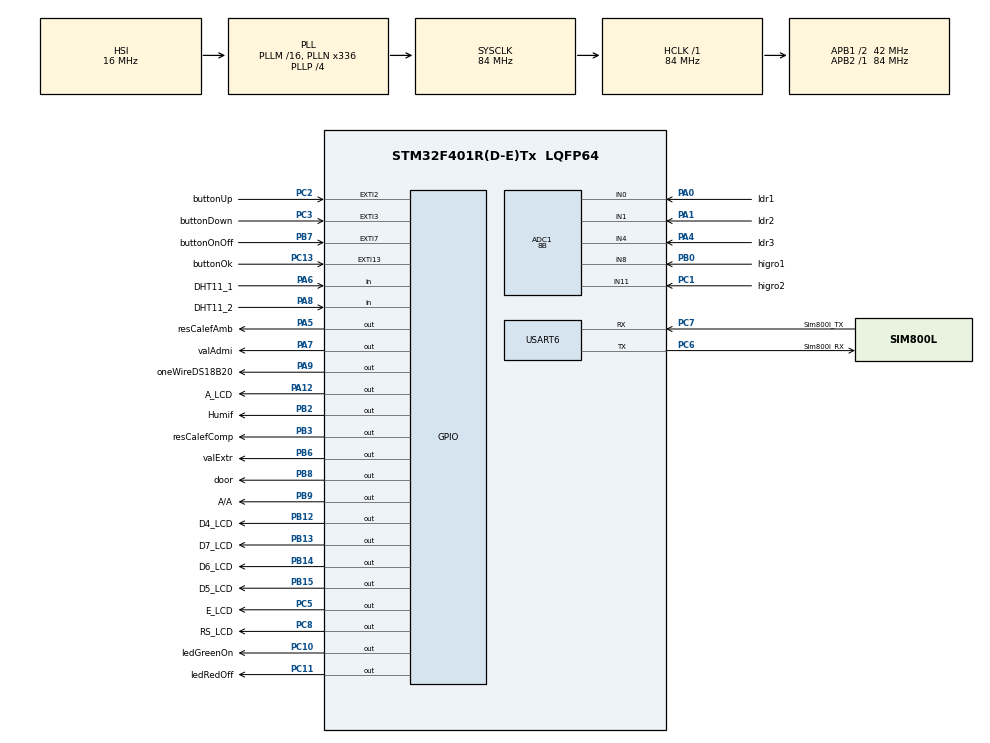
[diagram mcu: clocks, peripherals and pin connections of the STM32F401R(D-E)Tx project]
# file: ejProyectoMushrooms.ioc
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ADC1.Channel-0\#ChannelRegularConversion=ADC_CHANNEL_0
ADC1.Channel-1\#ChannelRegularConversion=ADC_CHANNEL_1
ADC1.Channel-2\#ChannelRegularConversion=ADC_CHANNEL_4
ADC1.Channel-3\#ChannelRegularConversion=ADC_CHANNEL_8
ADC1.Channel-4\#ChannelRegularConversion=ADC_CHANNEL_11
ADC1.Channel-5\#ChannelRegularConversion=ADC_CHANNEL_TEMPSENSOR
ADC1.ContinuousConvMode=ENABLE
ADC1.DMAContinuousRequests=ENABLE
ADC1.NbrOfConversion=6
ADC1.NbrOfConversionFlag=1
ADC1.Rank-0\#ChannelRegularConversion=1
ADC1.Rank-1\#ChannelRegularConversion=2
ADC1.Rank-2\#ChannelRegularConversion=3
ADC1.Rank-3\#ChannelRegularConversion=4
ADC1.Rank-4\#ChannelRegularConversion=5
ADC1.Rank-5\#ChannelRegularConversion=6
ADC1.Resolution=ADC_RESOLUTION_8B
ADC1.SamplingTime-0\#ChannelRegularConversion=ADC_SAMPLETIME_144CYCLES
ADC1.SamplingTime-1\#ChannelRegularConversion=ADC_SAMPLETIME_144CYCLES
ADC1.SamplingTime-2\#ChannelRegularConversion=ADC_SAMPLETIME_144CYCLES
ADC1.SamplingTime-3\#ChannelRegularConversion=ADC_SAMPLETIME_144CYCLES
ADC1.SamplingTime-4\#ChannelRegularConversion=ADC_SAMPLETIME_144CYCLES
ADC1.SamplingTime-5\#ChannelRegularConversion=ADC_SAMPLETIME_144CYCLES
ADC1.ScanConvMode=ENABLE
ADC1.master=1
Dma.ADC1.0.Direction=DMA_PERIPH_TO_MEMORY
Dma.ADC1.0.FIFOMode=DMA_FIFOMODE_DISABLE
Dma.ADC1.0.Instance=DMA2_Stream0
Dma.ADC1.0.MemDataAlignment=DMA_MDATAALIGN_BYTE
Dma.ADC1.0.MemInc=DMA_MINC_ENABLE
Dma.ADC1.0.Mode=DMA_CIRCULAR
Dma.ADC1.0.PeriphDataAlignment=DMA_PDATAALIGN_BYTE
Dma.ADC1.0.PeriphInc=DMA_PINC_DISABLE
Dma.ADC1.0.Priority=DMA_PRIORITY_LOW
Dma.Request0=ADC1
Mcu.Family=STM32F4
Mcu.Name=STM32F401R(D-E)Tx
Mcu.Package=LQFP64
NVIC.DMA2_Stream0_IRQn=true\:0\:0\:false\:false\:true
NVIC.EXTI15_10_IRQn=true\:0\:0\:false\:false\:true
NVIC.EXTI2_IRQn=true\:0\:0\:false\:false\:true
NVIC.EXTI3_IRQn=true\:0\:0\:false\:false\:true
NVIC.EXTI9_5_IRQn=true\:0\:0\:false\:false\:true
NVIC.PriorityGroup=NVIC_PRIORITYGROUP_0
NVIC.RCC_IRQn=true\:0\:0\:false\:false\:true
NVIC.TIM2_IRQn=true\:0\:0\:false\:false\:true
NVIC.USART6_IRQn=true\:0\:0\:false\:false\:true
PA0-WKUP.GPIO_Label=ldr1
PA0-WKUP.Signal=ADCx_IN0
PA1.GPIO_Label=ldr2
PA1.Signal=ADCx_IN1
PA12.GPIO_Label=A_LCD
PA12.Signal=GPIO_Output
PA4.GPIO_Label=ldr3
PA4.Signal=ADCx_IN4
PA5.GPIO_Label=resCalefAmb
PA5.Signal=GPIO_Output
PA6.GPIO_Label=DHT11_1
PA6.Signal=GPIO_Input
PA7.GPIO_Label=valAdmi
PA7.Signal=GPIO_Output
PA8.GPIO_Label=DHT11_2
PA8.Signal=GPIO_Input
PA9.GPIO_Label=oneWireDS18B20
PA9.Signal=GPIO_Output
PB0.GPIO_Label=higro1
PB0.Signal=ADCx_IN8
PB12.GPIO_Label=D4_LCD
PB12.Signal=GPIO_Output
PB13.GPIO_Label=D7_LCD
PB13.Signal=GPIO_Output
PB14.GPIO_Label=D6_LCD
PB14.Signal=GPIO_Output
PB15.GPIO_Label=D5_LCD
PB15.Signal=GPIO_Output
PB2.GPIO_Label=Humif
PB2.Signal=GPIO_Output
PB3.GPIO_Label=resCalefComp
PB3.Signal=GPIO_Output
PB6.GPIO_Label=valExtr
PB6.Signal=GPIO_Output
PB7.GPIO_Label=buttonOnOff
PB7.Signal=GPXTI7
PB8.GPIO_Label=door
PB8.Signal=GPIO_Output
PB9.GPIO_Label=A/A
PB9.Signal=GPIO_Output
PC1.GPIO_Label=higro2
PC1.Signal=ADCx_IN11
PC10.GPIO_Label=ledGreenOn
PC10.Signal=GPIO_Output
PC11.GPIO_Label=ledRedOff
PC11.Signal=GPIO_Output
PC13-ANTI_TAMP.GPIO_Label=buttonOk
PC13-ANTI_TAMP.Signal=GPXTI13
PC2.GPIO_Label=buttonUp
PC2.Signal=GPXTI2
PC3.GPIO_Label=buttonDown
PC3.Signal=GPXTI3
PC5.GPIO_Label=E_LCD
PC5.Signal=GPIO_Output
PC6.GPIO_Label=Sim800l_RX
PC6.Mode=Asynchronous
PC6.Signal=USART6_TX
PC7.GPIO_Label=Sim800l_TX
PC7.Mode=Asynchronous
PC7.Signal=USART6_RX
PC8.GPIO_Label=RS_LCD
PC8.Signal=GPIO_Output
PH0\ -\ OSC_IN.Mode=HSE-External-Oscillator
PH0\ -\ OSC_IN.Signal=RCC_OSC_IN
PH1\ -\ OSC_OUT.Mode=HSE-External-Oscillator
PH1\ -\ OSC_OUT.Signal=RCC_OSC_OUT
ProjectManager.HeapSize=0x200
ProjectManager.StackSize=0x400
ProjectManager.TargetToolchain=MDK-ARM V5
RCC.AHBFreq_Value=84000000
RCC.APB1CLKDivider=RCC_HCLK_DIV2
RCC.APB1Freq_Value=42000000
RCC.APB1TimFreq_Value=84000000
RCC.APB2Freq_Value=84000000
RCC.APB2TimFreq_Value=84000000
RCC.CortexFreq_Value=84000000
RCC.HCLKFreq_Value=84000000
RCC.HSE_VALUE=8000000
RCC.HSI_VALUE=16000000
RCC.LSE_VALUE=32768
RCC.PLLN=336
RCC.PLLP=RCC_PLLP_DIV4
RCC.PLLQ=7
RCC.SYSCLKFreq_VALUE=84000000
RCC.SYSCLKSource=RCC_SYSCLKSOURCE_PLLCLK
RCC.VCOOutputFreq_Value=336000000
RTC.Date=20
RTC.Format=RTC_FORMAT_BIN
RTC.Hours=7
RTC.Minutes=20
RTC.Month=RTC_MONTH_OCTOBER
RTC.WeekDay=RTC_WEEKDAY_FRIDAY
RTC.Year=17
SH.ADCx_IN0.0=ADC1_IN0,IN0
SH.ADCx_IN1.0=ADC1_IN1,IN1
SH.ADCx_IN11.0=ADC1_IN11,IN11
SH.ADCx_IN4.0=ADC1_IN4,IN4
SH.ADCx_IN8.0=ADC1_IN8,IN8
TIM2.Period=40000
TIM2.Prescaler=65535
TIM5.Period=0xffffffff
TIM5.Prescaler=84
USART6.VirtualMode=VM_ASYNC
VP_ADC1_TempSens_Input.Mode=IN-TempSens
VP_RTC_VS_RTC_Activate.Mode=RTC_Enabled
VP_RTC_VS_RTC_Calendar.Mode=RTC_Calendar
VP_TIM2_VS_ClockSourceINT.Mode=Internal
VP_TIM5_VS_ClockSourceINT.Mode=Internal
board=NUCLEO-F401RE

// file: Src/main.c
/**
  ******************************************************************************
  * File Name          : main.c
  * Description        : Main program body
  ******************************************************************************
  ** This notice applies to any and all portions of this file
  * that are not between comment pairs USER CODE BEGIN and
  * USER CODE END. Other portions of this file, whether
  * inserted by the user or by software development tools
  * are owned by their respective copyright owners.
  *
  * COPYRIGHT(c) 2018 STMicroelectronics
  *
  * Redistribution and use in source and binary forms, with or without modification,
  * are permitted provided that the following conditions are met:
  *   1. Redistributions of source code must retain the above copyright notice,
  *      this list of conditions and the following disclaimer.
  *   2. Redistributions in binary form must reproduce the above copyright notice,
  *      this list of conditions and the following disclaimer in the documentation
  *      and/or other materials provided with the distribution.
  *   3. Neither the name of STMicroelectronics nor the names of its contributors
  *      may be used to endorse or promote products derived from this software
  *      without specific prior written permission.
  *
  * THIS SOFTWARE IS PROVIDED BY THE COPYRIGHT HOLDERS AND CONTRIBUTORS "AS IS"
  * AND ANY EXPRESS OR IMPLIED WARRANTIES, INCLUDING, BUT NOT LIMITED TO, THE
  * IMPLIED WARRANTIES OF MERCHANTABILITY AND FITNESS FOR A PARTICULAR PURPOSE ARE
  * DISCLAIMED. IN NO EVENT SHALL THE COPYRIGHT HOLDER OR CONTRIBUTORS BE LIABLE
  * FOR ANY DIRECT, INDIRECT, INCIDENTAL, SPECIAL, EXEMPLARY, OR CONSEQUENTIAL
  * DAMAGES (INCLUDING, BUT NOT LIMITED TO, PROCUREMENT OF SUBSTITUTE GOODS OR
  * SERVICES; LOSS OF USE, DATA, OR PROFITS; OR BUSINESS INTERRUPTION) HOWEVER
  * CAUSED AND ON ANY THEORY OF LIABILITY, WHETHER IN CONTRACT, STRICT LIABILITY,
  * OR TORT (INCLUDING NEGLIGENCE OR OTHERWISE) ARISING IN ANY WAY OUT OF THE USE
  * OF THIS SOFTWARE, EVEN IF ADVISED OF THE POSSIBILITY OF SUCH DAMAGE.
  *
  ******************************************************************************
  */
#include "main.h"
#include "stm32f4xx_hal.h"

/* USER CODE BEGIN Includes */
#include <string.h>
#include <stdio.h>

/*Control and display on the LCD 16x2*/
#include "STM_MY_LCD16X2.h"
#include "menu.h"
/*Control and display on the LCD 16x2*/

/*Sensor to measurement the different important variables for the cultivation*/
#include "DHT11.h"
#include "soilHumidity.h"
#include "light.h"
#include "humAmb.h"
#include "humComp.h"
#include "humTemp.h"
#include "tempAmb.h"
#include "tempComp.h"
#include "tempMCU.h"
/*Sensor to measurement the different important variables for the cultivation*/

/*Files that controlled and maintained the phase of the growing*/
#include "fase.h"
#include "ctrlFase.h"
/*Files that controlled and maintained the phase of the growing*/

/*Includes for control and working the module SIM800L*/
#include "AT.h"
#include "fibocom.h"
#include "responseSMS.h"
/*Includes for control and working the module SIM800L*/

/* USER CODE END Includes */

ADC_HandleTypeDef hadc1;
DMA_HandleTypeDef hdma_adc1;

RTC_HandleTypeDef hrtc;

TIM_HandleTypeDef htim2;
TIM_HandleTypeDef htim5;

UART_HandleTypeDef huart6;

/* USER CODE BEGIN PV */
/* Private variables ---------------------------------------------------------*/

/*Variables to control the buttons and the LCD Display to initialization the system*/
typedef enum
{
	BREAK = -1,
	OFF,
	ON,
	RUN,
}eSystem;

typedef enum
{
	NOTHING,
	ARRIBA,
	ABAJO,
	OK,
}eButton;

typedef enum
{
	VOID = 0,
	MEDIUM,
	FULL,
}eLevel;

typedef enum
{
	datee,
	month,
	year,
	weekday,
}eDate;

typedef enum
{
	TEMPHUMAMB,
	TEMPSUELO,
	HUMSUELO,
	RTCCASE,
	TEMPSIM800,
	TEMPMCU,
	FAULT,
}eMED;

typedef enum
{
	MEDICION = 0,
	CONTROL,
	DATOS,
	SMSRX,
	SMSSEND,
	ALERTA,
	OUT,
	CALL,
}eProcess;

typedef enum
{
	JANUARY=1,
	FEBRUARY,
	MARCH,
	APRIL,
	MAY,
	JUNE,
	JULY,
	AUGUST,
	SEPTEMBER,
	OCTOBER,
	NOVEMBER,
	DECEMBER,
}eMonth;

eSystem system = OFF;
eButton msj = NOTHING;
eMED variable = TEMPHUMAMB;
uint8_t process = MEDICION;
uint8_t iTim = 0;
int8_t cntHMI = -1;
uint8_t cntHMI2 = 0;

/*Variables to control the buttons and the LCD Display to initialization the system*/

/*RS and E Control Pins to display in LCD 16x2*/
#define RS 8
#define E  5

#define D4 12
#define D5 15
#define D6 14
#define D7 13

const uint16_t LcdMaxRefreshTime = 500;
uint32_t LcdRefreshTime;
int8_t display = -1;
/*RS and E Control Pins to display in LCD 16x2*/

/*Buffer and variable to obtain the analogic values of Humidity, Illumination and the temperature
of the microcontroller*/
#define tam 6
uint8_t buffer[ tam ];
int16_t tempSensorMCU = 0;
float V25 = 760;
float Avg_Slope = 2500;
/*Buffer and variable to obtain the analogic values of Humidity, Illumination and the temperature
of the microcontroller*/

/*Variable to create a neccesary delay in microseconds to can connect with the DHT11 module sensor*/
volatile uint32_t a = 0;
volatile uint32_t us = 0;
volatile uint32_t u = 0;
/*Variable to create a neccesary delay in microseconds to can connect with the DHT11 module sensor*/

/*Array to storage the data of Date and time that will be necessary to control the period of cultivation*/
uint8_t Time[ 2 ];
uint8_t Date[ 4 ];
char timeLCD[] = {"   Time:00:00   "};
char dateLCD[] = {"  Date:00/00/00 "};
RTC_TimeTypeDef sTimeStructureGet;
RTC_DateTypeDef sDateStructureGet;
eFase date = faseGerminacion;			//Phase by default
uint16_t cntDate;
uint8_t setDate;
uint8_t setMonth;

typedef struct
{
	uint8_t yValue;
	uint8_t yDigit1;
	uint8_t yDigit2;
	uint8_t mValue;
	uint8_t mDigit1;
	uint8_t mDigit2;
	uint8_t dValue;
	uint8_t dDigit1;
	uint8_t dDigit2;
	uint8_t hValue;
	uint8_t hDigit1;
	uint8_t hDigit2;
	uint8_t minValue;
	uint8_t minDigit1;
	uint8_t minDigit2;
}typedefDate;

typedefDate _year;

typedefDate _month;

typedefDate _date;

typedefDate _hour;

typedefDate _min;

/*Array to storage the data of Date and time that will be necessary to control the period of cultivation*/

/*Variable to control the level of tank and display through LCD 16x2 the correct level*/
eLevel sensorOptic = VOID;
uint8_t levelTank, cntAA, cntLight, cntHum, cntHumComp;
/*Variable to control the level of tank and display through LCD 16x2 the correct level*/

/*Variable to measure a relative humidity of ambient and a temperature of ambient with DHT11*/
uint8_t DHT11_1 = 1;
uint8_t DHT11_2 = 2;
uint8_t humidity1, humidity2, temperature1, temperature11, temperature2;
uint8_t alertaHumLow, alertaTempLow, alertaTempHigh, countTemp, countHum;
/*Variable to measure a relative humidity of ambient and a temperature of ambient with DHT11*/

/*Variable to measure a humidity of the compost of growing*/
uint16_t hum1, hum2, humTotal;
/*Variable to measure a humidity of the compost of growing*/

/*Variable to measure the temperature at the compost of the growing*/
uint8_t crcMcu = 0;
uint8_t crcSensor = 0;

uint16_t tempComp1 = 0;
/*Variable to measure the temperature at the compost of the growing*/

/*Configuration of module SIM800L to connect the service GPRS and GSM*/
uint8_t buffRx[ 2000 ];
uint8_t buffRxRead[ 500 ];
int8_t state = -100;
uint8_t receiveMsj = 9;
int8_t estado;
bool msg = false;
char numeroTelefonicoAlertas[] = {"+584243458044"};
char numeroTelefonico[] = {"+584000000000"};
char temperaturaAmbiental[] = {"Temperatura Ambiental: 00°C. Cultivos Mushrooms."};
char humedadAmbiental[] = {"Humedad Ambiental: 000%. Cultivos Mushrooms."};
char temperaturaSustrato[] = {"Temperatura del Sustrato: 00°C. Cultivos Mushrooms."};
char humedadSustrato[] = {"Humedad del Sustrato: 000%. Cultivos Mushrooms."};
char iluminacion[] = {"Iluminacion del entorno: Optima. Cultivos Mushrooms."};
char nivelTanque[] = {"Nivel del tanque: Vacio. Cultivos Mushrooms."};
char temperaturaSim800[] = {"Temperatura del modulo: 00°C. Cultivos Mushrooms."};
char temperaturaMCU[] = {"Temperatura del MCU: 00°C. Cultivos Mushrooms."};
char msjAllVariables[] = {"Temperatura Ambiental: 00°C. Humedad Ambiental: 000%. Temperatura del sustrato: 000°C. Humedad del sustrato: 000%. Iluminacion: Optima. Nivel del tanque: Vacio. Temperatura del sim800: 00°C. Temperatura del MCU: 00°C. Cultivos Mushrooms"};
char errorMsj[] = {"Error de codigo, Intente de nuevo"};
char alertaTempAlta[] = {"Alerta temperatura ambiental muy alta"};
char alertaTempBaja[] = {"Alerta temperatura ambiental muy baja"};
char alertaHumBaja[] = {"Alerta humedad ambiental muy baja"};
char alertaTempMCU[] = {"Alerta temperatura del sistema excesiva, apagado de proteccion del sistema!!!"};
uint8_t alertaTempMcuHigh = 0;
uint8_t call = 0;
int8_t stateData = -2;
char updtVariables[] = { "api_key=4GUTFU81Z71XC9XR&field1=000&field2=000&field3=000&field4=000&field5=000&field6=000&field7=0" };
uint8_t g_cntData = 0;
bool b_firstRound = false;

/*Configuration of module SIM800L to connect the service GPRS and GSM*/

/*Arrays to storage the data of the variables*/
typedef struct
{
	uint8_t Amb1h[ 11 ];

	uint8_t Amb2h[ 11 ];

	uint8_t Amb1t[ 11 ];

	uint8_t Amb2t[ 11 ];

	uint8_t Soil[ 11 ];

	uint8_t Soil1h[ 11 ];

	uint8_t Soil2h[ 11 ];

	uint8_t MCU[ 11 ];

	uint8_t SIM800[ 11 ];

}arrayVariable;

arrayVariable temp;

arrayVariable hum;

typedef struct
{

  uint8_t TempHumAmb;

  uint8_t TempSoil;

  uint8_t HumSoil;

  uint8_t TempSim800;

  uint8_t TempMCU;

	uint8_t Dht;

	uint8_t digit1;

	uint8_t digit2;

	uint8_t value;

}indexTypedef;

indexTypedef iVariable;

indexTypedef cond;

indexTypedef erase;

/*Arrays to storage the data of the variables*/

/* USER CODE END PV */

void SystemClock_Config(void);
static void MX_GPIO_Init(void);
static void MX_DMA_Init(void);
void MX_RTC_Init(void);
static void MX_ADC1_Init(void);
static void MX_USART6_UART_Init(void);
static void MX_TIM5_Init(void);
static void MX_TIM2_Init(void);

/* USER CODE BEGIN PFP */
/* Private function prototypes -----------------------------------------------*/

/*Prototypes of function*/
extern void controlAmbiental( void );
extern void disp_enviar( char* text, int linea );
uint16_t  ReportTemperature( void );
void  OneWire_Init( void );
void timeRTC ( void );
void dateRTC ( void );

extern int8_t Inicializacion( void );
extern int8_t initGSM( void );
extern void Send( char *_number, char *_message );
extern void SMSquery( uint8_t receiveMsj );

extern int8_t initGPRS( void );
extern int8_t GETHTTP( char *CID, char *URL );
extern int8_t POSTHTTP( char *CID, char *URL, char *sizeData, char *latency, char *Data );
/*Prototypes of function*/

/* USER CODE END PFP */

int main(void)
{

  /* MCU Configuration----------------------------------------------------------*/

  /* Reset of all peripherals, Initializes the Flash interface and the Systick. */
  HAL_Init();

  /* Configure the system clock */
  SystemClock_Config();

  /* Initialize all configured peripherals */
  MX_GPIO_Init();
  MX_DMA_Init();
  MX_ADC1_Init();
  MX_USART6_UART_Init();
  MX_TIM5_Init();
  MX_TIM2_Init();

  /* USER CODE BEGIN 2 */

	HAL_GPIO_WritePin( GPIOC, GPIO_PIN_11, GPIO_PIN_SET );
	HAL_GPIO_WritePin( GPIOC, GPIO_PIN_10, GPIO_PIN_SET );
	HAL_GPIO_WritePin( GPIOB, GPIO_PIN_8, GPIO_PIN_SET );
	HAL_GPIO_WritePin( GPIOB, GPIO_PIN_6, GPIO_PIN_SET );
	HAL_GPIO_WritePin( GPIOA, GPIO_PIN_7, GPIO_PIN_SET );

  /*Initialization of LCD Display 16x2*/
  LCD_begin4BIT( GPIOC, RS, E, GPIOB, D4, D5, D6, D7 );
	LCD_clear();
	LCD_noCursor();
	HAL_Delay( 10 );
  /*Initialization of LCD Display 16x2*/

	fibocom_bsp_init();

	while( state != 0 )
	{
		HAL_GPIO_WritePin( GPIOA, GPIO_PIN_12, GPIO_PIN_SET );
		disp_enviar( " Inicializando  ", 0 );
		disp_enviar( "    Red Gsm...  ", 1 );
		HAL_Delay( 150 );
		state = Inicializacion();
		switch( state )
		{
			case 0:
				for( uint8_t x=0 ; x<100; x++)
				{
					buffRx[ x ] = 0x00;
				}
				break;
			case -1:
				break;
			default:
				break;
		}
	}

	while( state == 0 )
	{
		disp_enviar( "  Configurando  ", 0 );
		disp_enviar( "                ", 1 );
		HAL_Delay( 150 );
		state = initGSM();
		switch( state )
		{
			case -1:
				for( uint8_t x=0 ; x<100; x++)
				{
					buffRx[ x ] = 0x00;
				}
				break;
			case 0:
				break;
			default:
				break;
		}
		LCD_clear();
		HAL_Delay( 150 );
	}

	while( state != 0 )
	{
		disp_enviar( "  Configurando  ", 0 );
		disp_enviar( "      GPRS      ", 1 );
		HAL_Delay( 150 );
		state = initGPRS();
		switch( state )
		{
			case 0:
				for( uint8_t x=0 ; x<100; x++)
				{
					buffRx[ x ] = 0x00;
				}
				break;
			case -1:
				break;
			default:
				break;
		}
		LCD_clear();
		HAL_Delay( 150 );
	}

	while( state == 0 )
	{
		disp_enviar( "   Obteniendo  ", 0 );
		disp_enviar( "     Datos     ", 1 );
		HAL_Delay( 150 );
		CIPGSMLOC( "2", "1" );
		HAL_Delay( 5000 );
		if( ( buffRx[ 2 ] == 'E' ) && ( buffRx[ 3 ] == 'R' ) && ( buffRx[ 4 ] == 'R' ) && ( buffRx[ 5 ] == 'O' ) && ( buffRx[ 6 ] == 'R' ) )
		{
			state = 0;
		}
		else if( buffRx[ 14 ] == '0' )
		{
			for( uint8_t i = 0; i < 10; i++ )
			{
				if( buffRx[ 18 ] == ( i + 0x30 ) ) _year.yDigit1 = i*10;
				if( buffRx[ 19 ] == ( i + 0x30 ) ) _year.yDigit2 = i;
				_year.yValue = _year.yDigit1 + _year.yDigit2;

				if( buffRx[ 21 ] == ( i + 0x30 ) ) _month.mDigit1 = i*10;
				if( buffRx[ 22 ] == ( i + 0x30 ) ) _month.mDigit2 = i;
				_month.mValue = _month.mDigit1 + _month.mDigit2;

				if( buffRx[ 24 ] == ( i + 0x30 ) ) _date.dDigit1 = i*10;
				if( buffRx[ 25 ] == ( i + 0x30 ) ) _date.dDigit2 = i;
				_date.dValue = _date.dDigit1 + _date.dDigit2;

				if( buffRx[ 27 ] == ( i + 0x30 ) ) _hour.hDigit1 = i*10;
				if( buffRx[ 28 ] == ( i + 0x30 ) ) _hour.hDigit2 = i;
				_hour.hValue = ( _hour.hDigit1 + _hour.hDigit2 ) - 4;

				if( buffRx[ 30 ] == ( i + 0x30 ) ) _min.minDigit1 = i*10;
				if( buffRx[ 31 ] == ( i + 0x30 ) ) _min.minDigit2 = i;
				_min.minValue = ( _min.minDigit1 + _min.minDigit2 );
			}
			state = -1;
		}
	}

	HAL_GPIO_WritePin( GPIOA, GPIO_PIN_12, GPIO_PIN_RESET );

	switch( _month.mValue )
	{
		case JANUARY:
			_month.mValue = 0x01;
			break;
		case FEBRUARY:
			_month.mValue = 0x02;
			break;
		case MARCH:
			_month.mValue = 0x03;
			break;
		case APRIL:
			_month.mValue = 0x04;
			break;
		case MAY:
			_month.mValue = 0x05;
			break;
		case JUNE:
			_month.mValue = 0x06;
			break;
		case JULY:
			_month.mValue = 0x07;
			break;
		case AUGUST:
			_month.mValue = 0x08;
			break;
		case SEPTEMBER:
			_month.mValue = 0x09;
			break;
		case OCTOBER:
			_month.mValue = 0x10;
			break;
		case NOVEMBER:
			_month.mValue = 0x11;
			break;
		case DECEMBER:
			_month.mValue = 0x12;
			break;
		default:
			break;
	}

	MX_RTC_Init();

	/*Enable the RTC function and the Backup Domain Access*/
	__HAL_RCC_PWR_CLK_ENABLE();
	HAL_PWR_EnableBkUpAccess();
	__HAL_RCC_RTC_ENABLE();
	/*Enable the RTC function and the Backup Domain Access*/

	/*Set the date and the time of the RTC to control the days of the growing*/
	dateRTC();
	HAL_Delay( 100 );
	timeRTC();
	setDate = Date[ datee ];
	setMonth = Date[ month ];
	/*Set the date and the time of the RTC to control the days of the growing*/

	/*Turn on the ADC through the DMA and the Timer 5*/
  HAL_ADC_Start_DMA( &hadc1, (uint32_t *)buffer, tam );
  HAL_TIM_Base_Start( &htim5 );
	HAL_TIM_Base_Start_IT( &htim2 );
  /*Turn on the ADC through the DMA and the Timer 5*/

  /* USER CODE END 2 */

  /* Infinite loop */
  /* USER CODE BEGIN WHILE */
  while (1)
  {
		 do{
      switch ( system )
      {
				case OFF:
					tempSensor();
          HAL_GPIO_WritePin( GPIOC, GPIO_PIN_11, GPIO_PIN_RESET );
          HAL_GPIO_WritePin( GPIOC, GPIO_PIN_10, GPIO_PIN_SET );
					HAL_GPIO_WritePin( GPIOA, GPIO_PIN_12, GPIO_PIN_RESET );
					dateRTC();
					timeRTC();
          break;
        case ON:
          HAL_GPIO_WritePin( GPIOC, GPIO_PIN_11, GPIO_PIN_SET );
          HAL_GPIO_WritePin( GPIOC, GPIO_PIN_10, GPIO_PIN_RESET );
					HAL_GPIO_WritePin( GPIOA, GPIO_PIN_12, GPIO_PIN_SET );
					mnu_mostrar_menu( MenuPrincipal2, 0, LINEA_SUPERIOR );
					cntHMI = -1;
					system = BREAK;
          break;
				case RUN:
					LCD_noCursor();
					if( cntDate == 2900 )
					{
						date = cultivation( date );
						cntDate = 0;
					}
					if( cntHMI == -1 )
					{
						system = BREAK;
						break;
					}
					dateRTC();
					HAL_Delay( 100 );
					timeRTC();
					switch( process )
					{
						case MEDICION:
							switch( variable )
							{
								case TEMPHUMAMB:
									DHT11( GPIO_PIN_6 );
									cond.Dht = read( &humidity1, &humidity2, &temperature1, &temperature2 );
									if( erase.TempHumAmb != false )
									{
										for( uint8_t x = 0; x<10; x++)
										{
											hum.Amb1h[ x ] = 0;
											temp.Amb1t[ x ] = 0;
										}
									}
									if( cond.Dht == 0 )
									{
										hum.Amb1h[ iVariable.TempHumAmb ] = humidity1;
										temp.Amb1t[ iVariable.TempHumAmb ] = temperature1;
									}
									HAL_Delay( 1000 );
									DHT11( GPIO_PIN_8 );
									cond.Dht = ( uint8_t ) read( &humidity1, &humidity2, &temperature1, &temperature2 );
									if( erase.TempHumAmb != false )
									{
										for( uint8_t x = 0; x<10; x++)
										{
											hum.Amb2h[ x ] = 0;
											temp.Amb2t[ x ] = 0;
										}
										erase.TempHumAmb = false;
									}
									if( cond.Dht == 0 )
									{
										hum.Amb2h[ iVariable.TempHumAmb ] = humidity1;
										temp.Amb2t[ iVariable.TempHumAmb ] = temperature1;
									}
									temperaturaAmbiental[ 23 ] = ( ( ( ( ( temp.Amb1t[ iVariable.TempHumAmb ] ) + ( temp.Amb2t[ iVariable.TempHumAmb ] ) ) / 2 ) % 100 ) / 10 ) + 0x30;
									temperaturaAmbiental[ 24 ] = ( ( ( ( ( temp.Amb1t[ iVariable.TempHumAmb ] ) + ( temp.Amb2t[ iVariable.TempHumAmb ] ) ) / 2 ) % 100 ) % 10 ) + 0x30;
									msjAllVariables[ 23 ] = ( ( ( ( ( temp.Amb1t[ iVariable.TempHumAmb ] ) + ( temp.Amb2t[ iVariable.TempHumAmb ] ) ) / 2 ) % 100 ) / 10 ) + 0x30;
									msjAllVariables[ 24 ] = ( ( ( ( ( temp.Amb1t[ iVariable.TempHumAmb ] ) + ( temp.Amb2t[ iVariable.TempHumAmb ] ) ) / 2 ) % 100 ) % 10 ) + 0x30;
									humedadAmbiental[ 19 ] = ( ( ( ( hum.Amb1h[ iVariable.TempHumAmb ] ) + ( hum.Amb2h[ iVariable.TempHumAmb ] ) ) / 2 ) / 100 ) + 0x30;
									humedadAmbiental[ 20 ] = ( ( ( ( ( hum.Amb1h[ iVariable.TempHumAmb ] ) + ( hum.Amb2h[ iVariable.TempHumAmb ] ) ) / 2 ) % 100 ) / 10 ) + 0x30;
									humedadAmbiental[ 21 ] = ( ( ( ( ( hum.Amb1h[ iVariable.TempHumAmb ] ) + ( hum.Amb2h[ iVariable.TempHumAmb ] ) ) / 2 ) % 100 ) % 10 ) + 0x30;
									msjAllVariables[ 48 ] = ( ( ( ( hum.Amb1h[ iVariable.TempHumAmb ] ) + ( hum.Amb2h[ iVariable.TempHumAmb ] ) ) / 2 ) / 100 ) + 0x30;
									msjAllVariables[ 49 ] = ( ( ( ( ( hum.Amb1h[ iVariable.TempHumAmb ] ) + ( hum.Amb2h[ iVariable.TempHumAmb ] ) ) / 2 ) % 100 ) / 10 ) + 0x30;
									msjAllVariables[ 50 ] = ( ( ( ( ( hum.Amb1h[ iVariable.TempHumAmb ] ) + ( hum.Amb2h[ iVariable.TempHumAmb ] ) ) / 2 ) % 100 ) % 10 ) + 0x30;
									iVariable.TempHumAmb++;
									if( iVariable.TempHumAmb == 10 )
									{
										iVariable.TempHumAmb = 0;
										hum.Amb1h[ 10 ] = ( ( hum.Amb1h[ 0 ] + hum.Amb1h[ 1 ] + hum.Amb1h[ 2 ] + hum.Amb1h[ 3 ] + hum.Amb1h[ 4 ] + hum.Amb1h[ 5 ] + hum.Amb1h[ 6 ] + hum.Amb1h[ 7 ] + hum.Amb1h[ 8 ] + hum.Amb1h[ 9 ] ) / 10 );
										temp.Amb1t[ 10 ] = ( ( temp.Amb1t[ 0 ] + temp.Amb1t[ 1 ] + temp.Amb1t[ 2 ] + temp.Amb1t[ 3 ] + temp.Amb1t[ 4 ] + temp.Amb1t[ 5 ] + temp.Amb1t[ 6 ] + temp.Amb1t[ 7 ] + temp.Amb1t[ 8 ] + temp.Amb1t[ 9 ] ) / 10 );
										temperaturaAmbiental[ 23 ] = ( ( ( ( ( temp.Amb1t[ iVariable.TempHumAmb ] ) + ( temp.Amb2t[ iVariable.TempHumAmb ] ) ) / 2 ) % 100 ) / 10 ) + 0x30;
										temperaturaAmbiental[ 24 ] = ( ( ( ( ( temp.Amb1t[ iVariable.TempHumAmb ] ) + ( temp.Amb2t[ iVariable.TempHumAmb ] ) ) / 2 ) % 100 ) % 10 ) + 0x30;
										humedadAmbiental[ 19 ] = ( ( ( ( hum.Amb1h[ iVariable.TempHumAmb ] ) + ( hum.Amb2h[ iVariable.TempHumAmb ] ) ) / 2 ) / 100 ) + 0x30;
										humedadAmbiental[ 20 ] = ( ( ( ( ( hum.Amb1h[ iVariable.TempHumAmb ] ) + ( hum.Amb2h[ iVariable.TempHumAmb ] ) ) / 2 ) % 100 ) / 10 ) + 0x30;
										humedadAmbiental[ 21 ] = ( ( ( ( ( hum.Amb1h[ iVariable.TempHumAmb ] ) + ( hum.Amb2h[ iVariable.TempHumAmb ] ) ) / 2 ) % 100 ) % 10 ) + 0x30;
										erase.TempHumAmb = true;
									}
									variable = TEMPSUELO;
								case TEMPSUELO:
									if( ( erase.TempSoil != false ) )
									{
										for( uint8_t x = 0; x<10; x++)
										{
											temp.Soil[ x ] = 0;
										}
										erase.TempSoil = false;
									}
									temp.Soil[ iVariable.TempSoil ] = ReportTemperature();
									if( 200 != temp.Soil[ iVariable.TempSoil ] )
									{
										temp.Soil[ iVariable.TempSoil ] = ReportTemperature();
										temperaturaSustrato[ 26 ] = ( ( temp.Soil[ iVariable.TempSoil ] % 100 ) / 10 ) + 0x30;
										temperaturaSustrato[ 27 ] = ( ( temp.Soil[ iVariable.TempSoil ] % 100 ) % 10 ) + 0x30;
										msjAllVariables[ 80 ] = ( ( temp.Soil[ iVariable.TempSoil ] % 100 ) / 10 ) + 0x30;
										msjAllVariables[ 81 ] = ( ( temp.Soil[ iVariable.TempSoil ] % 100 ) % 10 ) + 0x30;
										iVariable.TempSoil++;
									}
									else
									{
										temp.Soil[ iVariable.TempSoil ] = temp.Soil[ iVariable.TempSoil - 1 ];
										temperaturaSustrato[ 26 ] = ( ( temp.Soil[ iVariable.TempSoil ] % 100 ) / 10 ) + 0x30;
										temperaturaSustrato[ 27 ] = ( ( temp.Soil[ iVariable.TempSoil ] % 100 ) % 10 ) + 0x30;
										msjAllVariables[ 80 ] = ( ( temp.Soil[ iVariable.TempSoil ] % 100 ) / 10 ) + 0x30;
										msjAllVariables[ 81 ] = ( ( temp.Soil[ iVariable.TempSoil ] % 100 ) % 10 ) + 0x30;
										iVariable.TempSoil++;
									}
									if( iVariable.TempSoil == 10 )
									{
										temp.Soil[ 10 ] = ( ( temp.Soil[ 0 ] + temp.Soil[ 1 ] + temp.Soil[ 2 ] + temp.Soil[ 3 ] + temp.Soil[ 4 ] + temp.Soil[ 5 ] + temp.Soil[ 6 ] + temp.Soil[ 7 ] + temp.Soil[ 8 ] + temp.Soil[ 9 ] ) / 10 );
										temperaturaSustrato[ 26 ] = ( ( temp.Soil[ iVariable.TempSoil ] % 100 ) / 10 ) + 0x30;
										temperaturaSustrato[ 27 ] = ( ( temp.Soil[ iVariable.TempSoil ] % 100 ) % 10 ) + 0x30;
										iVariable.TempSoil = 0;
										erase.TempSoil = true;
									}
									variable = HUMSUELO;
								case HUMSUELO:
									if( erase.HumSoil != false )
									{
										for( uint8_t x = 0; x<10; x++)
										{
											hum.Soil1h[ x ] = 0;
											hum.Soil2h[ x ] = 0;
										}
									erase.HumSoil = false;
									}
									getSoilHumidity();
									hum.Soil1h[ iVariable.HumSoil ] = hum1;
									hum.Soil2h[ iVariable.HumSoil ] = hum2;
									humedadSustrato[ 22 ] = ( ( ( ( hum.Soil1h[ iVariable.HumSoil ] ) + ( hum.Soil2h[ iVariable.HumSoil ] ) ) / 2 ) / 100 ) + 0x30;
									humedadSustrato[ 23 ] = ( ( ( ( ( hum.Soil1h[ iVariable.HumSoil ] ) + ( hum.Soil2h[ iVariable.HumSoil ] ) ) / 2 ) % 100 ) / 10 ) + 0x30;
									humedadSustrato[ 24 ] = ( ( ( ( ( hum.Soil1h[ iVariable.HumSoil ] ) + ( hum.Soil2h[ iVariable.HumSoil ] ) ) / 2 ) % 100 ) % 10 ) + 0x30;
									msjAllVariables[ 108 ] = ( ( ( ( hum.Soil1h[ iVariable.HumSoil ] ) + ( hum.Soil2h[ iVariable.HumSoil ] ) ) / 2 ) / 100 ) + 0x30;
									msjAllVariables[ 109 ] = ( ( ( ( ( hum.Soil1h[ iVariable.HumSoil ] ) + ( hum.Soil2h[ iVariable.HumSoil ] ) ) / 2 ) % 100 ) / 10 ) + 0x30;
									msjAllVariables[ 110 ] = ( ( ( ( ( hum.Soil1h[ iVariable.HumSoil ] ) + ( hum.Soil2h[ iVariable.HumSoil ] ) ) / 2 ) % 100 ) % 10 ) + 0x30;
									iVariable.HumSoil++;
									if( iVariable.HumSoil == 10 )
									{
										hum.Soil1h[ 10 ] = ( ( hum.Soil1h[ 0 ] + hum.Soil1h[ 1 ] + hum.Soil1h[ 2 ] + hum.Soil1h[ 3 ] + hum.Soil1h[ 4 ] + hum.Soil1h[ 5 ] + hum.Soil1h[ 6 ] + hum.Soil1h[ 7 ] + hum.Soil1h[ 8 ] + hum.Soil1h[ 9 ] ) / 10 );
										hum.Soil2h[ 10 ] = ( ( hum.Soil2h[ 0 ] + hum.Soil2h[ 1 ] + hum.Soil2h[ 2 ] + hum.Soil2h[ 3 ] + hum.Soil2h[ 4 ] + hum.Soil2h[ 5 ] + hum.Soil2h[ 6 ] + hum.Soil2h[ 7 ] + hum.Soil2h[ 8 ] + hum.Soil2h[ 9 ] ) / 10 );
										humedadSustrato[ 22 ] = ( ( ( ( hum.Soil1h[ iVariable.HumSoil ] ) + ( hum.Soil2h[ iVariable.HumSoil ] ) ) / 2 ) / 100 ) + 0x30;
										humedadSustrato[ 23 ] = ( ( ( ( ( hum.Soil1h[ iVariable.HumSoil ] ) + ( hum.Soil2h[ iVariable.HumSoil ] ) ) / 2 ) % 100 ) / 10 ) + 0x30;
										humedadSustrato[ 24 ] = ( ( ( ( ( hum.Soil1h[ iVariable.HumSoil ] ) + ( hum.Soil2h[ iVariable.HumSoil ] ) ) / 2 ) % 100 ) % 10 ) + 0x30;
										iVariable.HumSoil = 0;
										erase.HumSoil = true;
									}
									variable = TEMPSIM800;
								case RTCCASE:
									if( cntHMI2 == 1 )
									{

									}
									else
									{
										dateRTC();
										timeRTC();
									}
								case TEMPSIM800:
									if( ( erase.TempSim800 != false ) )
									{
										for( uint8_t x = 0; x<10; x++)
										{
											temp.SIM800[ x ] = 0;
										}
										erase.TempSim800 = false;
									}
									CMTE( "?" );
									HAL_Delay( 1000 );
									for( uint8_t i = 0; i<10; i++ )
									{
										if( ( i + 0x30 ) == buffRx[ 11 ] ) iVariable.digit1 = i*10;
										if( ( i + 0x30 ) == buffRx[ 12 ] ) iVariable.digit2 = i;
										iVariable.value = iVariable.digit1 + iVariable.digit2;
									}
									temp.SIM800[ iVariable.TempSim800 ] = iVariable.value;
									temperaturaSim800[ 24 ] = ( ( temp.SIM800[ iVariable.TempSim800 ] % 100 ) / 10 ) + 0x30;
									temperaturaSim800[ 25 ] = ( ( temp.SIM800[ iVariable.TempSim800 ] % 100 ) % 10 ) + 0x30;
									msjAllVariables[ 184 ] = ( ( temp.SIM800[ iVariable.TempSim800 ] % 100 ) / 10 ) + 0x30;
									msjAllVariables[ 185 ] = ( ( temp.SIM800[ iVariable.TempSim800 ] % 100 ) % 10 ) + 0x30;
									iVariable.TempSim800++;
									for( uint16_t x=0 ; x<50; x++)
									{
										buffRx[ x ] = 0x00;
									}
									if( iVariable.TempSim800 == 10 )
									{
										temp.SIM800[ 10 ] = ( ( temp.SIM800[ 0 ] + temp.SIM800[ 1 ] + temp.SIM800[ 2 ] + temp.SIM800[ 3 ] + temp.SIM800[ 4 ] + temp.SIM800[ 5 ] + temp.SIM800[ 6 ] + temp.SIM800[ 7 ] + temp.SIM800[ 8 ] + temp.SIM800[ 9 ] ) / 10 );
										temperaturaSim800[ 24 ] = ( ( temp.SIM800[ iVariable.TempSim800 ] % 100 ) / 10 ) + 0x30;
										temperaturaSim800[ 25 ] = ( ( temp.SIM800[ iVariable.TempSim800 ] % 100 ) % 10 ) + 0x30;
										iVariable.TempSim800 = 0;
										erase.TempSim800 = true;
									}
								case TEMPMCU:
									if( ( erase.TempMCU != false ) )
									{
										for( uint8_t x = 0; x<10; x++)
										{
											temp.MCU[ x ] = 0;
										}
										erase.TempMCU = false;
									}
									tempSensor();
									temp.MCU[ iVariable.TempMCU ] = tempSensorMCU;
									temperaturaMCU[ 21 ] = ( ( temp.MCU[ iVariable.TempMCU ] % 100 ) / 10 ) + 0x30;
									temperaturaMCU[ 22 ] = ( ( temp.MCU[ iVariable.TempMCU ] % 100 ) % 10 ) + 0x30;
									msjAllVariables[ 211 ] = ( ( temp.MCU[ iVariable.TempMCU ] % 100 ) / 10 ) + 0x30;
									msjAllVariables[ 212 ] = ( ( temp.MCU[ iVariable.TempMCU ] % 100 ) % 10 ) + 0x30;
									iVariable.TempMCU++;
									if( iVariable.TempMCU == 10 )
									{
										temp.MCU[ 10 ] = ( ( temp.MCU[ 0 ] + temp.MCU[ 1 ] + temp.MCU[ 2 ] + temp.MCU[ 3 ] + temp.MCU[ 4 ] + temp.MCU[ 5 ] + temp.MCU[ 6 ] + temp.MCU[ 7 ] + temp.MCU[ 8 ] + temp.MCU[ 9 ] ) / 10 );
										temperaturaMCU[ 21 ] = ( ( temp.MCU[ iVariable.TempMCU ] % 100 ) / 10 ) + 0x30;
										temperaturaMCU[ 22 ] = ( ( temp.MCU[ iVariable.TempMCU ] % 100 ) % 10 ) + 0x30;
										iVariable.TempMCU = 0;
										erase.TempMCU = true;
									}
									if( ( iTim == 2 ) || ( iTim == 4 ) || ( iTim == 6 ) || ( iTim == 8 ) || ( iTim == 10 ) )
									{
										process = CONTROL;
									}
									else if( msg != true )
									{
										process = OUT;
									}
									else
									{
										process = SMSRX;
									}
									variable = FAULT;
									break;
								default:
									break;
							}
						case CONTROL:
							controlAmbiental();
							if( msg == true )
							{
								process = SMSRX;
							}
							else
							{
								process = OUT;
							}
							break;
						case DATOS:
							HAL_TIM_Base_Stop_IT( &htim2 );
							while( state != 0 )
							{
								state = initGPRS();
								switch( state )
								{
									case 0:
										for( uint8_t x=0 ; x<100; x++)
										{
											buffRx[ x ] = 0x00;
										}
										break;
									case -1:
										break;
									default:
										break;
								}
								HAL_Delay( 150 );
							}
							updtVariables[ 32 ] = ( ( ( ( hum.Amb1h[ 10 ] ) + ( hum.Amb2h[ 10 ] ) ) / 2 ) / 100 ) + 0x30;
							updtVariables[ 33 ] = ( ( ( ( ( hum.Amb1h[ 10 ] ) + ( hum.Amb2h[ 10 ] ) ) / 2 ) % 100 ) / 10 ) + 0x30;
							updtVariables[ 34 ] = ( ( ( ( ( hum.Amb1h[ 10 ] ) + ( hum.Amb2h[ 10 ] ) ) / 2 ) % 100 ) % 10 ) + 0x30;
							updtVariables[ 43 ] = ( ( ( ( hum.Soil1h[ 10 ] ) + ( hum.Soil2h[ 10 ] ) ) / 2 ) / 100 ) + 0x30;
							updtVariables[ 44 ] = ( ( ( ( ( hum.Soil1h[ 10 ] ) + ( hum.Soil2h[ 10 ] ) ) / 2 ) % 100 ) / 10 ) + 0x30;
							updtVariables[ 45 ] = ( ( ( ( ( hum.Soil1h[ 10 ] ) + ( hum.Soil2h[ 10 ] ) ) / 2 ) % 100 ) % 10 ) + 0x30;
							updtVariables[ 54 ] = ( ( ( ( temp.Amb1t[ 10 ] ) + ( temp.Amb2t[ 10 ] ) ) / 2 ) / 100 ) + 0x30;
							updtVariables[ 55 ] = ( ( ( ( ( temp.Amb1t[ 10 ] ) + ( temp.Amb2t[ 10 ] ) ) / 2 ) % 100 ) / 10 ) + 0x30;
							updtVariables[ 56 ] = ( ( ( ( ( temp.Amb1t[ 10 ] ) + ( temp.Amb2t[ 10 ] ) ) / 2 ) % 100 ) % 10 ) + 0x30;
							updtVariables[ 65 ] = ( ( temp.Soil[ 10 ] ) / 100 ) + 0x30;
							updtVariables[ 66 ] = ( ( temp.Soil[ 10 ] % 100 ) / 10 ) + 0x30;
							updtVariables[ 67 ] = ( ( temp.Soil[ 10 ] % 100 ) % 10 ) + 0x30;
							updtVariables[ 76 ] = ( ( temp.SIM800[ 10 ] ) / 100 ) + 0x30;
							updtVariables[ 77 ] = ( ( temp.SIM800[ 10 ] % 100 ) / 10 ) + 0x30;
							updtVariables[ 78 ] = ( ( temp.SIM800[ 10 ] % 100 ) % 10 ) + 0x30;
							updtVariables[ 87 ] = ( ( temp.MCU[ 10 ] ) / 100 ) + 0x30;
							updtVariables[ 88 ] = ( ( temp.MCU[ 10 ] % 100 ) / 10 ) + 0x30;
							updtVariables[ 89 ] = ( ( temp.MCU[ 10 ] % 100 ) % 10 ) + 0x30;
							updtVariables[ 98 ] = ( ( date ) / 100 ) + 0x30;
							while( stateData < 0 )
							{
								stateData = POSTHTTP( "1", "api.thingspeak.com/update", "99", "10000", updtVariables );
								g_cntData++;
							}
							HAL_Delay( 5000 );
							b_firstRound = true;
							stateData = -1;
							if( true == msg )
							{
								process = SMSRX;
							}
							else
							{
								HAL_TIM_Base_Start_IT( &htim2 );
								process = OUT;
							}
							break;
						case SMSRX:
							SMSquery( smsRX );
							process = OUT;
							break;
						case SMSSEND:
							SMSquery( smsTX );
							process = MEDICION;
							break;
						case ALERTA:
							SMSquery( smsTX );
							process = MEDICION;
							break;
						case CALL:
							HAL_Delay( 2000 );
							Cmd_ATA();
							HAL_Delay( 2000 );
							Cmd_ATH();
							call = 0;
							process = MEDICION;
							for( uint8_t x=0 ; x<100; x++)
							{
								buffRx[ x ] = 0x00;
							}
							break;
						default:
							break;
						}
				case BREAK:
					if( ( ( iTim == 2 ) || ( iTim == 4 ) || ( iTim == 6 ) || ( iTim == 8 ) ) && ( ( display == -1 )  || ( display == 4 ) ) && ( cntHMI != -2 ) )
					{
						dateRTC();
						HAL_Delay( 100 );
						timeRTC();
						date = fase( faseGerminacion );
						cntHMI = 0;
						system = RUN;
					}
				default:
					break;
      }
      if( msj == ARRIBA )
      {
				if( ( system == RUN ) && ( cntHMI == 0 ) )
				{
					mnu_mostrar_menu( MenuPrincipal, 0, LINEA_SUPERIOR );
					cntHMI = -1;
					msj = NOTHING;
				}
				else
				{
					cntHMI2 = 0;
					mnu_ejecutar_funcion( TECLA_ARRIBA );
					msj = NOTHING;
				}
      }
      else if( msj == ABAJO )
      {
				if( ( system == RUN ) && ( cntHMI == 0 ) )
				{
					mnu_mostrar_menu( MenuPrincipal, 0, LINEA_SUPERIOR );
					cntHMI = -1;
					msj = NOTHING;
				}
				else
				{
					cntHMI2 = 0;
					mnu_ejecutar_funcion( TECLA_ABAJO );
					msj = NOTHING;
				}
      }
      else if( msj == OK )
      {
				if( ( system == RUN ) && ( cntHMI == 0 ) )
				{
					mnu_mostrar_menu( MenuPrincipal, 0, LINEA_SUPERIOR );
					cntHMI = -1;
					msj = NOTHING;
				}
				else
				{
					cntHMI2 = 0;
					mnu_ejecutar_funcion(TECLA_OK);
					msj = NOTHING;
				}
      }

      /*Ejecutar cada 500ms*/
     if(( HAL_GetTick() - LcdRefreshTime ) > LcdMaxRefreshTime )
     {
       mnu_ejecutar_funcion_periodica();
       LcdRefreshTime = HAL_GetTick();
     }
      /*Ejecutar cada 500ms*/
    }while( system != OFF );
  /* USER CODE END WHILE */

  /* USER CODE BEGIN 3 */
	}
  /* USER CODE END WHILE */

  /* USER CODE BEGIN 3 */

  /* USER CODE END 3 */

}

/** System Clock Configuration
*/
void SystemClock_Config(void)
{

  RCC_OscInitTypeDef RCC_OscInitStruct;
  RCC_ClkInitTypeDef RCC_ClkInitStruct;
  RCC_PeriphCLKInitTypeDef PeriphClkInitStruct;

    /**Configure the main internal regulator output voltage
    */
  __HAL_RCC_PWR_CLK_ENABLE();

  __HAL_PWR_VOLTAGESCALING_CONFIG(PWR_REGULATOR_VOLTAGE_SCALE2);

    /**Initializes the CPU, AHB and APB busses clocks
    */
  RCC_OscInitStruct.OscillatorType = RCC_OSCILLATORTYPE_HSI|RCC_OSCILLATORTYPE_LSI;
  RCC_OscInitStruct.HSIState = RCC_HSI_ON;
  RCC_OscInitStruct.HSICalibrationValue = 16;
  RCC_OscInitStruct.LSIState = RCC_LSI_ON;
  RCC_OscInitStruct.PLL.PLLState = RCC_PLL_ON;
  RCC_OscInitStruct.PLL.PLLSource = RCC_PLLSOURCE_HSI;
  RCC_OscInitStruct.PLL.PLLM = 16;
  RCC_OscInitStruct.PLL.PLLN = 336;
  RCC_OscInitStruct.PLL.PLLP = RCC_PLLP_DIV4;
  RCC_OscInitStruct.PLL.PLLQ = 7;
  if (HAL_RCC_OscConfig(&RCC_OscInitStruct) != HAL_OK)
  {
    _Error_Handler(__FILE__, __LINE__);
  }

    /**Initializes the CPU, AHB and APB busses clocks
    */
  RCC_ClkInitStruct.ClockType = RCC_CLOCKTYPE_HCLK|RCC_CLOCKTYPE_SYSCLK
                              |RCC_CLOCKTYPE_PCLK1|RCC_CLOCKTYPE_PCLK2;
  RCC_ClkInitStruct.SYSCLKSource = RCC_SYSCLKSOURCE_PLLCLK;
  RCC_ClkInitStruct.AHBCLKDivider = RCC_SYSCLK_DIV1;
  RCC_ClkInitStruct.APB1CLKDivider = RCC_HCLK_DIV2;
  RCC_ClkInitStruct.APB2CLKDivider = RCC_HCLK_DIV1;

  if (HAL_RCC_ClockConfig(&RCC_ClkInitStruct, FLASH_LATENCY_2) != HAL_OK)
  {
    _Error_Handler(__FILE__, __LINE__);
  }

  PeriphClkInitStruct.PeriphClockSelection = RCC_PERIPHCLK_RTC;
  PeriphClkInitStruct.RTCClockSelection = RCC_RTCCLKSOURCE_LSI;
  if (HAL_RCCEx_PeriphCLKConfig(&PeriphClkInitStruct) != HAL_OK)
  {
    _Error_Handler(__FILE__, __LINE__);
  }

    /**Configure the Systick interrupt time
    */
  HAL_SYSTICK_Config(HAL_RCC_GetHCLKFreq()/1000);

    /**Configure the Systick
    */
  HAL_SYSTICK_CLKSourceConfig(SYSTICK_CLKSOURCE_HCLK);

  /* SysTick_IRQn interrupt configuration */
  HAL_NVIC_SetPriority(SysTick_IRQn, 0, 0);
}

/* ADC1 init function */
static void MX_ADC1_Init(void)
{

  ADC_ChannelConfTypeDef sConfig;

    /**Configure the global features of the ADC (Clock, Resolution, Data Alignment and number of conversion)
    */
  hadc1.Instance = ADC1;
  hadc1.Init.ClockPrescaler = ADC_CLOCK_SYNC_PCLK_DIV4;
  hadc1.Init.Resolution = ADC_RESOLUTION_8B;
  hadc1.Init.ScanConvMode = ENABLE;
  hadc1.Init.ContinuousConvMode = ENABLE;
  hadc1.Init.DiscontinuousConvMode = DISABLE;
  hadc1.Init.ExternalTrigConvEdge = ADC_EXTERNALTRIGCONVEDGE_NONE;
  hadc1.Init.ExternalTrigConv = ADC_SOFTWARE_START;
  hadc1.Init.DataAlign = ADC_DATAALIGN_RIGHT;
  hadc1.Init.NbrOfConversion = 6;
  hadc1.Init.DMAContinuousRequests = ENABLE;
  hadc1.Init.EOCSelection = ADC_EOC_SINGLE_CONV;
  if (HAL_ADC_Init(&hadc1) != HAL_OK)
  {
    _Error_Handler(__FILE__, __LINE__);
  }

    /**Configure for the selected ADC regular channel its corresponding rank in the sequencer and its sample time.
    */
  sConfig.Channel = ADC_CHANNEL_0;
  sConfig.Rank = 1;
  sConfig.SamplingTime = ADC_SAMPLETIME_144CYCLES;
  if (HAL_ADC_ConfigChannel(&hadc1, &sConfig) != HAL_OK)
  {
    _Error_Handler(__FILE__, __LINE__);
  }

    /**Configure for the selected ADC regular channel its corresponding rank in the sequencer and its sample time.
    */
  sConfig.Channel = ADC_CHANNEL_1;
  sConfig.Rank = 2;
  if (HAL_ADC_ConfigChannel(&hadc1, &sConfig) != HAL_OK)
  {
    _Error_Handler(__FILE__, __LINE__);
  }

    /**Configure for the selected ADC regular channel its corresponding rank in the sequencer and its sample time.
    */
  sConfig.Channel = ADC_CHANNEL_4;
  sConfig.Rank = 3;
  if (HAL_ADC_ConfigChannel(&hadc1, &sConfig) != HAL_OK)
  {
    _Error_Handler(__FILE__, __LINE__);
  }

    /**Configure for the selected ADC regular channel its corresponding rank in the sequencer and its sample time.
    */
  sConfig.Channel = ADC_CHANNEL_8;
  sConfig.Rank = 4;
  if (HAL_ADC_ConfigChannel(&hadc1, &sConfig) != HAL_OK)
  {
    _Error_Handler(__FILE__, __LINE__);
  }

    /**Configure for the selected ADC regular channel its corresponding rank in the sequencer and its sample time.
    */
  sConfig.Channel = ADC_CHANNEL_11;
  sConfig.Rank = 5;
  if (HAL_ADC_ConfigChannel(&hadc1, &sConfig) != HAL_OK)
  {
    _Error_Handler(__FILE__, __LINE__);
  }

    /**Configure for the selected ADC regular channel its corresponding rank in the sequencer and its sample time.
    */
  sConfig.Channel = ADC_CHANNEL_TEMPSENSOR;
  sConfig.Rank = 6;
  if (HAL_ADC_ConfigChannel(&hadc1, &sConfig) != HAL_OK)
  {
    _Error_Handler(__FILE__, __LINE__);
  }

}

/* RTC init function */
void MX_RTC_Init(void)
{

  RTC_TimeTypeDef sTime;
  RTC_DateTypeDef sDate;

    /**Initialize RTC Only
    */
  hrtc.Instance = RTC;
  hrtc.Init.HourFormat = RTC_HOURFORMAT_24;
  hrtc.Init.AsynchPrediv = 127;
  hrtc.Init.SynchPrediv = 255;
  hrtc.Init.OutPut = RTC_OUTPUT_DISABLE;
  hrtc.Init.OutPutPolarity = RTC_OUTPUT_POLARITY_HIGH;
  hrtc.Init.OutPutType = RTC_OUTPUT_TYPE_OPENDRAIN;
  if (HAL_RTC_Init(&hrtc) != HAL_OK)
  {
    _Error_Handler(__FILE__, __LINE__);
  }

    /**Initialize RTC and set the Time and Date
    */
  if(HAL_RTCEx_BKUPRead(&hrtc, RTC_BKP_DR0) != 0x32F2){
  sTime.Hours = _hour.hValue;
  sTime.Minutes = _min.minValue;
  sTime.Seconds = 0;
  sTime.DayLightSaving = RTC_DAYLIGHTSAVING_NONE;
  sTime.StoreOperation = RTC_STOREOPERATION_RESET;
  if (HAL_RTC_SetTime(&hrtc, &sTime, RTC_FORMAT_BIN) != HAL_OK)
  {
    _Error_Handler(__FILE__, __LINE__);
  }

  sDate.WeekDay = RTC_WEEKDAY_FRIDAY;
  sDate.Month = _month.mValue;
  sDate.Date = _date.dValue;
  sDate.Year = _year.yValue;

  if (HAL_RTC_SetDate(&hrtc, &sDate, RTC_FORMAT_BIN) != HAL_OK)
  {
    _Error_Handler(__FILE__, __LINE__);
  }

    HAL_RTCEx_BKUPWrite(&hrtc,RTC_BKP_DR0,0x32F2);
  }

}

/* TIM2 init function */
static void MX_TIM2_Init(void)
{

  TIM_ClockConfigTypeDef sClockSourceConfig;
  TIM_MasterConfigTypeDef sMasterConfig;

  htim2.Instance = TIM2;
  htim2.Init.Prescaler = 65535;
  htim2.Init.CounterMode = TIM_COUNTERMODE_UP;
  htim2.Init.Period = 40000;
  htim2.Init.ClockDivision = TIM_CLOCKDIVISION_DIV1;
  if (HAL_TIM_Base_Init(&htim2) != HAL_OK)
  {
    _Error_Handler(__FILE__, __LINE__);
  }

  sClockSourceConfig.ClockSource = TIM_CLOCKSOURCE_INTERNAL;
  if (HAL_TIM_ConfigClockSource(&htim2, &sClockSourceConfig) != HAL_OK)
  {
    _Error_Handler(__FILE__, __LINE__);
  }

  sMasterConfig.MasterOutputTrigger = TIM_TRGO_RESET;
  sMasterConfig.MasterSlaveMode = TIM_MASTERSLAVEMODE_DISABLE;
  if (HAL_TIMEx_MasterConfigSynchronization(&htim2, &sMasterConfig) != HAL_OK)
  {
    _Error_Handler(__FILE__, __LINE__);
  }

}

/* TIM5 init function */
static void MX_TIM5_Init(void)
{

  TIM_ClockConfigTypeDef sClockSourceConfig;
  TIM_MasterConfigTypeDef sMasterConfig;

  htim5.Instance = TIM5;
  htim5.Init.Prescaler = 84;
  htim5.Init.CounterMode = TIM_COUNTERMODE_UP;
  htim5.Init.Period = 0xffffffff;
  htim5.Init.ClockDivision = TIM_CLOCKDIVISION_DIV1;
  if (HAL_TIM_Base_Init(&htim5) != HAL_OK)
  {
    _Error_Handler(__FILE__, __LINE__);
  }

  sClockSourceConfig.ClockSource = TIM_CLOCKSOURCE_INTERNAL;
  if (HAL_TIM_ConfigClockSource(&htim5, &sClockSourceConfig) != HAL_OK)
  {
    _Error_Handler(__FILE__, __LINE__);
  }

  sMasterConfig.MasterOutputTrigger = TIM_TRGO_RESET;
  sMasterConfig.MasterSlaveMode = TIM_MASTERSLAVEMODE_DISABLE;
  if (HAL_TIMEx_MasterConfigSynchronization(&htim5, &sMasterConfig) != HAL_OK)
  {
    _Error_Handler(__FILE__, __LINE__);
  }

}

/* USART6 init function */
static void MX_USART6_UART_Init(void)
{

  huart6.Instance = USART6;
  huart6.Init.BaudRate = 115200;
  huart6.Init.WordLength = UART_WORDLENGTH_8B;
  huart6.Init.StopBits = UART_STOPBITS_1;
  huart6.Init.Parity = UART_PARITY_NONE;
  huart6.Init.Mode = UART_MODE_TX_RX;
  huart6.Init.HwFlowCtl = UART_HWCONTROL_NONE;
  huart6.Init.OverSampling = UART_OVERSAMPLING_16;
  if (HAL_UART_Init(&huart6) != HAL_OK)
  {
    _Error_Handler(__FILE__, __LINE__);
  }

}

static void MX_DMA_Init(void)
{
  /* DMA controller clock enable */
  __HAL_RCC_DMA2_CLK_ENABLE();

  /* DMA interrupt init */
  /* DMA2_Stream0_IRQn interrupt configuration */
  HAL_NVIC_SetPriority(DMA2_Stream0_IRQn, 0, 0);
  HAL_NVIC_EnableIRQ(DMA2_Stream0_IRQn);

}

/** Configure pins as
        * Analog
        * Input
        * Output
        * EVENT_OUT
        * EXTI
*/
static void MX_GPIO_Init(void)
{

  GPIO_InitTypeDef GPIO_InitStruct;

  /* GPIO Ports Clock Enable */
  __HAL_RCC_GPIOC_CLK_ENABLE();
  __HAL_RCC_GPIOH_CLK_ENABLE();
  __HAL_RCC_GPIOA_CLK_ENABLE();
  __HAL_RCC_GPIOB_CLK_ENABLE();

  /*Configure GPIO pin Output Level */
  HAL_GPIO_WritePin(GPIOA, resCalefAmb_Pin|valAdmi_Pin|oneWireDS18B20_Pin|A_LCD_Pin, GPIO_PIN_RESET);

  /*Configure GPIO pin Output Level */
  HAL_GPIO_WritePin(GPIOC, E_LCD_Pin|RS_LCD_Pin|ledGreenOn_Pin|ledRedOff_Pin, GPIO_PIN_RESET);

  /*Configure GPIO pin Output Level */
  HAL_GPIO_WritePin(GPIOB, Humif_Pin|D4_LCD_Pin|D7_LCD_Pin|D6_LCD_Pin
                          |D5_LCD_Pin|resCalefComp_Pin|valExtr_Pin|door_Pin
                          |A_A_Pin, GPIO_PIN_RESET);

  /*Configure GPIO pins : buttonOk_Pin buttonUp_Pin buttonDown_Pin */
  GPIO_InitStruct.Pin = buttonOk_Pin|buttonUp_Pin|buttonDown_Pin;
  GPIO_InitStruct.Mode = GPIO_MODE_IT_RISING;
  GPIO_InitStruct.Pull = GPIO_NOPULL;
  HAL_GPIO_Init(GPIOC, &GPIO_InitStruct);

  /*Configure GPIO pins : resCalefAmb_Pin valAdmi_Pin oneWireDS18B20_Pin A_LCD_Pin */
  GPIO_InitStruct.Pin = resCalefAmb_Pin|valAdmi_Pin|oneWireDS18B20_Pin|A_LCD_Pin;
  GPIO_InitStruct.Mode = GPIO_MODE_OUTPUT_PP;
  GPIO_InitStruct.Pull = GPIO_NOPULL;
  GPIO_InitStruct.Speed = GPIO_SPEED_FREQ_LOW;
  HAL_GPIO_Init(GPIOA, &GPIO_InitStruct);

  /*Configure GPIO pins : DHT11_1_Pin DHT11_2_Pin */
  GPIO_InitStruct.Pin = DHT11_1_Pin|DHT11_2_Pin;
  GPIO_InitStruct.Mode = GPIO_MODE_INPUT;
  GPIO_InitStruct.Pull = GPIO_NOPULL;
  HAL_GPIO_Init(GPIOA, &GPIO_InitStruct);

  /*Configure GPIO pins : E_LCD_Pin RS_LCD_Pin ledGreenOn_Pin ledRedOff_Pin */
  GPIO_InitStruct.Pin = E_LCD_Pin|RS_LCD_Pin|ledGreenOn_Pin|ledRedOff_Pin;
  GPIO_InitStruct.Mode = GPIO_MODE_OUTPUT_PP;
  GPIO_InitStruct.Pull = GPIO_NOPULL;
  GPIO_InitStruct.Speed = GPIO_SPEED_FREQ_LOW;
  HAL_GPIO_Init(GPIOC, &GPIO_InitStruct);

  /*Configure GPIO pins : Humif_Pin D4_LCD_Pin D7_LCD_Pin D6_LCD_Pin
                           D5_LCD_Pin resCalefComp_Pin valExtr_Pin door_Pin
                           A_A_Pin */
  GPIO_InitStruct.Pin = Humif_Pin|D4_LCD_Pin|D7_LCD_Pin|D6_LCD_Pin
                          |D5_LCD_Pin|resCalefComp_Pin|valExtr_Pin|door_Pin
                          |A_A_Pin;
  GPIO_InitStruct.Mode = GPIO_MODE_OUTPUT_PP;
  GPIO_InitStruct.Pull = GPIO_NOPULL;
  GPIO_InitStruct.Speed = GPIO_SPEED_FREQ_LOW;
  HAL_GPIO_Init(GPIOB, &GPIO_InitStruct);

  /*Configure GPIO pin : buttonOnOff_Pin */
  GPIO_InitStruct.Pin = buttonOnOff_Pin;
  GPIO_InitStruct.Mode = GPIO_MODE_IT_RISING;
  GPIO_InitStruct.Pull = GPIO_NOPULL;
  HAL_GPIO_Init(buttonOnOff_GPIO_Port, &GPIO_InitStruct);

  /* EXTI interrupt init*/
  HAL_NVIC_SetPriority(EXTI2_IRQn, 0, 0);
  HAL_NVIC_EnableIRQ(EXTI2_IRQn);

  HAL_NVIC_SetPriority(EXTI3_IRQn, 0, 0);
  HAL_NVIC_EnableIRQ(EXTI3_IRQn);

  HAL_NVIC_SetPriority(EXTI9_5_IRQn, 0, 0);
  HAL_NVIC_EnableIRQ(EXTI9_5_IRQn);

  HAL_NVIC_SetPriority(EXTI15_10_IRQn, 0, 0);
  HAL_NVIC_EnableIRQ(EXTI15_10_IRQn);

}

/* USER CODE BEGIN 4 */
uint32_t micros(void){
  return htim5.Instance->CNT;
}

void delay_us(uint32_t us){
  uint32_t tInit = micros();
  while((micros() - tInit) < us);
}

/*
 *  OneWire_Init      hardware-specific configuration of 1-wire I/O
 */

void  OneWire_Init(void)
{
  pinMode( GPIO_PIN_9, OUTPUT );
}

static void  SendInitialization(void)
{

  HAL_GPIO_WritePin( GPIOA, GPIO_PIN_9, GPIO_PIN_SET );
  pinMode( GPIO_PIN_9, OUTPUT );
  delay_us( 500 );

  HAL_GPIO_WritePin( GPIOA, GPIO_PIN_9, GPIO_PIN_RESET );
  delay_us( 500 );

  HAL_GPIO_WritePin( GPIOA, GPIO_PIN_9, GPIO_PIN_SET );
  pinMode( GPIO_PIN_9, INPUT );
  delay_us( 50 );
}

static void  SendByte( uint8_t  val )
{
    uint8_t n;

    for ( n = 0; n < 8; n++ )
    {
        pinMode( GPIO_PIN_9, OUTPUT );
        HAL_GPIO_WritePin( GPIOA, GPIO_PIN_9, GPIO_PIN_RESET );
        delay_us( 5 );
        if (val & 1)  HAL_GPIO_WritePin( GPIOA, GPIO_PIN_9, GPIO_PIN_SET );
        delay_us( 95 );
        HAL_GPIO_WritePin( GPIOA, GPIO_PIN_9, GPIO_PIN_SET );
        delay_us( 5 );
        val = val >> 1;
    }
}

static  uint8_t  ReadByte( void )
{
    uint8_t n;
    uint8_t val;

    val = 0;
    for ( n = 0; n<8; n++ )
    {
        val = val >> 1;
        pinMode( GPIO_PIN_9, OUTPUT );
        HAL_GPIO_WritePin( GPIOA, GPIO_PIN_9, GPIO_PIN_RESET );
        delay_us( 15 );
        HAL_GPIO_WritePin( GPIOA, GPIO_PIN_9, GPIO_PIN_SET );
        pinMode( GPIO_PIN_9, INPUT );
        if( HAL_GPIO_ReadPin( GPIOA, GPIO_PIN_9 )== GPIO_PIN_SET )  val = val | 0x80;
        delay_us( 45 );
    }
    return  val;
}
/*
*/

void crc8( uint8_t data)
{
	uint8_t i = 8;
	do
	{
		if( ( data ^ crcMcu ) & 1 )
		{
			crcMcu ^=0x18;
			crcMcu >>= 1;
			crcMcu |= 0x80;
		}
		else
		{
			crcMcu >>= 1;
		}
		data >>= 1;
	}
	while (--i);
}

uint16_t  ReportTemperature( void )
{
    uint32_t val;
    uint16_t t;
    uint8_t  n;
    uint8_t pad[16];

    SendInitialization();
    delay_us( 100 );
    SendByte( 0XCC );
    SendByte( 0X44 );

    HAL_Delay( 750 );
    SendInitialization();
    delay_us( 100 );
    SendByte( 0XCC );
    SendByte( 0XBE );

    for ( n = 0 ; n < 9 ; n++ )
    {
        pad[ n ] = ReadByte();
    }

    val = ( pad[ 1 ] * 256 + pad[ 0 ] );             // temp in 0.5 degs C
    t = val >> 4;

		crcSensor = pad[ 8 ];

		for(uint8_t i = 0; i < 8; i++)
		{
			crc8( pad[ i ] );
		}
		if( ( crcSensor ^ crcMcu ) == 0 )
		{
			crcMcu = 0;
			return t;
		}
		else
		{
			crcMcu = 0;
			return 200;
		}
}

void timeRTC( void )
{
	//Get time to the internal RTC of the STM32F401RET
	HAL_RTC_GetTime( &hrtc, &sTimeStructureGet, RTC_FORMAT_BIN );

	Time[ 0 ] = sTimeStructureGet.Hours;
	Time[ 1 ] = sTimeStructureGet.Minutes;

	timeLCD[ 8 ] = ( ( Time[0]%100 )/10 ) + 0x30;
	timeLCD[ 9 ] = ( ( Time[0]%100 )%10 ) + 0x30;
	timeLCD[ 11 ] = ( ( Time[1]%100 )/10 ) + 0x30;
	timeLCD[ 12 ] = ( ( Time[1]%100 )%10 ) + 0x30;

	disp_enviar( timeLCD, 1 );
}

void dateRTC( void )
{
	//Get the date to the internal RTC of the STM32F401RET
	HAL_RTC_GetDate( &hrtc, &sDateStructureGet, RTC_FORMAT_BIN );

	Date[ 0 ] = sDateStructureGet.Date;
	Date[ 1 ] = sDateStructureGet.Month;
	Date[ 2 ] = sDateStructureGet.Year;
	Date[ 3 ] = sDateStructureGet.WeekDay;

	dateLCD[ 7 ] = ( ( Date[0]%100 )/10 ) + 0x30;
	dateLCD[ 8 ] = ( ( Date[0]%100 )%10 ) + 0x30;
	dateLCD[ 10 ] = ( ( Date[1]%100 )/10 ) + 0x30;
	dateLCD[ 11 ] = ( ( Date[1]%100 )%10 ) + 0x30;
	dateLCD[ 13 ] = ( ( Date[2]%100 )/10 ) + 0x30;
	dateLCD[ 14 ] = ( ( Date[2]%100 )%10 ) + 0x30;
	disp_enviar( dateLCD, 0 );
}

void disp_enviar( char* text, int linea )
{
	int i,n = strlen( text );

	n = ( n>16 )?16:n;

	LCD_setCursor( linea + 1, 1 );

	for( i=0; i<n; i++ )
	{
		LCD_writeChar( text[ i ] );
	}
	HAL_Delay( 100 );
}

/* USER CODE END 4 */

void _Error_Handler(char * file, int line)
{
  while(1)
  {
  }
}

/************************ (C) COPYRIGHT STMicroelectronics *****END OF FILE****/
